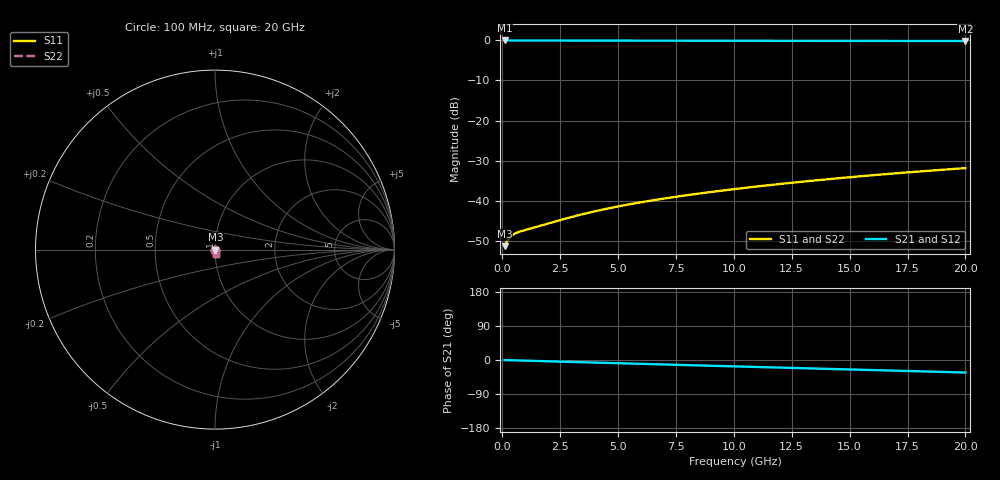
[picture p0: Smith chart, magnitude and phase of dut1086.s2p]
! Touchstone file exported from HFSS 2026.1.0
!  File:  C:/ffzhzh/LocalFiles/Ansys_Project_Files/temp_train_TMRDL_1086_1783160994_22436.aedt
!  Generated:  06:31:01 PM Jul  4, 2026
!  Design:  TMRDL
!  Project:  temp_train_TMRDL_1086_1783160994_22436
! Variables:
!  h_bsmrdl = 2um
!  h_ox = 20um
!  h_rdl = 5um
!  h_sub = 80um
!  h_tmrdl = 5.23um
!  h_tsv = 80um
!  h_via = 3um
!  l_bsmrdl = 300um
!  l_sub = 1001.27um
!  l_tmrdl = 601.27um
!  m_sub = 200um
!  pitch = 20.86um
!  r_tsv = 6um
!  s_tmrdl = 10um
!  w_bsmrdl = 18um
!  w_sub = 500um
!  w_tmrdl = 16.61um
!  x_tsv_center1 = 609.575um
!  x_tsv_center2 = 927.575um
!  x_tsv_center3 = 1545.455um
!  x_tsv_center4 = 1863.455um
!  x_tsv_center5 = 2481.335um
!  x_tsv_center6 = 2799.335um
# GHz S MA R 50.000000
! Terminal data exported
! Port[1] = TM_RDL1_1_T1
! Port[2] = TM_RDL1_1_T2
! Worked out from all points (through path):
!   200 points, 100 MHz to 20 GHz, reference 50 ohm
!   highest |S21| = -0.02 dB at 100 MHz (marker M1); lowest = -0.2 dB at 20 GHz (marker M2)
!   group delay of S21, straight-line fit = 4.57 ps
!   lowest |S11| = -51.3 dB at 100 MHz (marker M3), VSWR 1.01, Z = 50.3 + j0.0523 ohm
!   |S11| at or under -10 dB: start of sweep to end of sweep
!   |S22| runs from -51.3 to -31.9 dB; largest |S21 - S12| = 5.5e-15
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0.1  0.002718 11.0  0.9973 -0.2  0.9973 -0.2  0.002718 11.0
! Gamma 0 0 0 0
! Port Impedance 50 0 50 0
0.2  0.003109 15.4  0.997 -0.4  0.997 -0.4  0.003109 15.4
0.3  0.003439 15.9  0.9967 -0.6  0.9967 -0.6  0.003439 15.9
0.4  0.003674 15.3  0.9965 -0.7  0.9965 -0.7  0.003674 15.3
0.5  0.003841 14.6  0.9963 -0.9  0.9963 -0.9  0.003841 14.6
0.6  0.003967 14.0  0.9961 -1.1  0.9961 -1.1  0.003967 14.0
0.9  0.004248 13.0  0.9959 -1.6  0.9959 -1.6  0.004248 13.0
2.3  0.005535 10.1  0.9946 -4.0  0.9946 -4.0  0.005534 10.1
2.9  0.006178 7.3  0.9939 -5.0  0.9939 -5.0  0.006176 7.3
3.5  0.006841 3.6  0.9932 -6.0  0.9932 -6.0  0.006838 3.6
4.2  0.00762 -1.1  0.9924 -7.2  0.9924 -7.2  0.007616 -1.1
5  0.008506 -6.9  0.9915 -8.6  0.9915 -8.6  0.0085 -6.9
5.9  0.009491 -13.4  0.9905 -10.1  0.9905 -10.1  0.009483 -13.4
6.8  0.01047 -19.6  0.9896 -11.5  0.9896 -11.5  0.01046 -19.6
8.3  0.0121 -29.2  0.9882 -14.0  0.9882 -14.0  0.01208 -29.2
10.1  0.01408 -39.3  0.9868 -17.0  0.9868 -17.0  0.01405 -39.4
11.7  0.01587 -47.2  0.9856 -19.6  0.9856 -19.6  0.01584 -47.3
13.4  0.01782 -54.7  0.9845 -22.3  0.9845 -22.3  0.01778 -54.8
15  0.01968 -61.0  0.9835 -25.0  0.9835 -25.0  0.01963 -61.2
16.7  0.02167 -67.2  0.9825 -27.7  0.9825 -27.7  0.02162 -67.4
18.3  0.02355 -72.5  0.9816 -30.3  0.9816 -30.3  0.02349 -72.7
20  0.02554 -77.8  0.9806 -33.1  0.9806 -33.1  0.02547 -78.1
